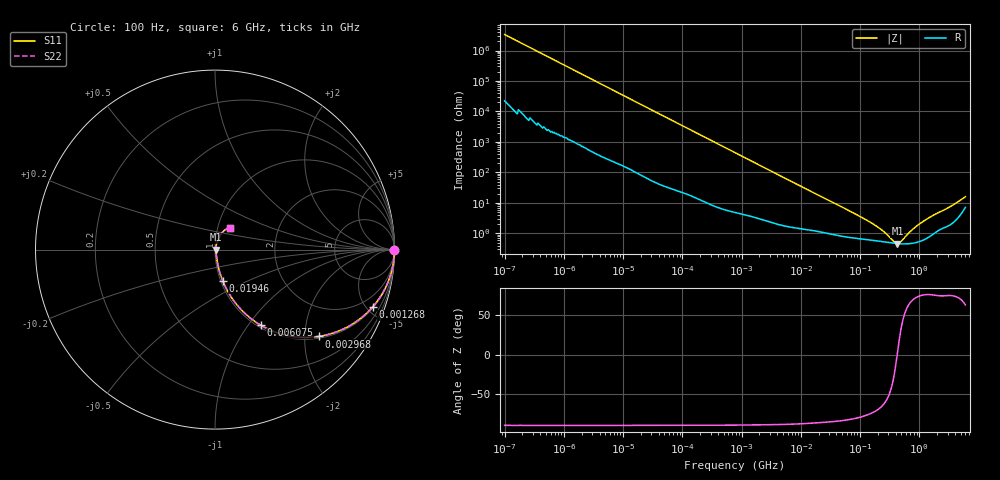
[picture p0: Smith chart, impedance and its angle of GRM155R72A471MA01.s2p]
!Murata Part Number: GRM155R72A471MA01
!These Parameters are Measured in Series Mode Connection
!Data Generated on Mar 30, 2021
!  o--ll--o
!Port1  Port2
!  o------o
!Operation Temp=25[degC], DC Bias Voltage=0[V]
!Freq. Start=100[Hz] Stop=6[GHz] 401[Steps]
# Hz S RI R 50
!Freq.(Hz) S11(Real) S11(Imag) S21(Real) S21(Imag) S12(Real) S12(Imag) S22(Real) S22(Imag)
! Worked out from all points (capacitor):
!   401 points, 100 Hz to 6 GHz, reference 50 ohm
!   read as one part in series: C = 474 pF near 109 Hz
!   lowest |Z| = 464 mohm at 427.4 MHz (marker M1)
!   series resonance near 423.5 MHz, so ESL is about 300 pH
!   S11 on the Smith chart (normalised r, x): 100 Hz: open; 1.268 MHz: 1.08, -5.45; 2.968 MHz: 1.05, -2.35; 6.075 MHz: 1.03, -1.15; 19.46 MHz: 1.02, -0.37; 6 GHz: 1.14, +0.29
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100  1 -2.98e-05  2e-07 2.98e-05  2e-07 2.98e-05  1 -2.98e-05
335  1 -9.96e-05  4e-07 9.96e-05  4e-07 9.96e-05  1 -9.96e-05
2008  1 -0.000594  2.9e-06 0.000594  2.9e-06 0.000594  1 -0.000594
40335  0.9998 -0.0118  0.000198 0.0118  0.000198 0.0118  0.9998 -0.0118
241822  0.9945 -0.0701  0.00546 0.0701  0.00546 0.0701  0.9945 -0.0701
774597  0.9498 -0.213  0.0502 0.213  0.0502 0.213  0.9498 -0.213
1267578  0.878 -0.3203  0.122 0.3203  0.122 0.3203  0.878 -0.3203
2967816  0.5778 -0.4839  0.4222 0.4839  0.4222 0.4839  0.5778 -0.4839
6075234  0.2557 -0.422  0.7443 0.422  0.7443 0.422  0.2557 -0.422
9506416  0.13 -0.3173  0.87 0.3173  0.87 0.3173  0.13 -0.3173
1.555665e7  0.06 -0.2116  0.94 0.2116  0.94 0.2116  0.06 -0.2116
1.946e7  0.0428 -0.1733  0.9572 0.1733  0.9572 0.1733  0.0428 -0.1733
4.556224e7  0.0144 -0.0776  0.9856 0.0776  0.9856 0.0776  0.0144 -0.0776
1.395531e8  0.00673 -0.024  0.9933 0.024  0.9933 0.024  0.00673 -0.024
2.183701e8  0.00564 -0.0131  0.9944 0.0131  0.9944 0.0131  0.00564 -0.0131
3.124326e8  0.00498 -0.00583  0.995 0.00583  0.995 0.00583  0.00498 -0.00583
3.737127e8  0.00474 -0.0024  0.9953 0.0024  0.9953 0.0024  0.00474 -0.0024
4.274388e8  0.00461 0.00018  0.9954 -0.00018  0.9954 -0.00018  0.00461 0.00018
4.888888e8  0.00454 0.00281  0.9955 -0.00281  0.9955 -0.00281  0.00454 0.00281
7.650043e8  0.00488 0.0124  0.9951 -0.0124  0.9951 -0.0124  0.00488 0.0124
1.144649e9  0.00646 0.0233  0.9935 -0.0233  0.9935 -0.0233  0.00646 0.0233
6e9  0.0833 0.1223  0.9167 -0.1223  0.9167 -0.1223  0.0833 0.1223
